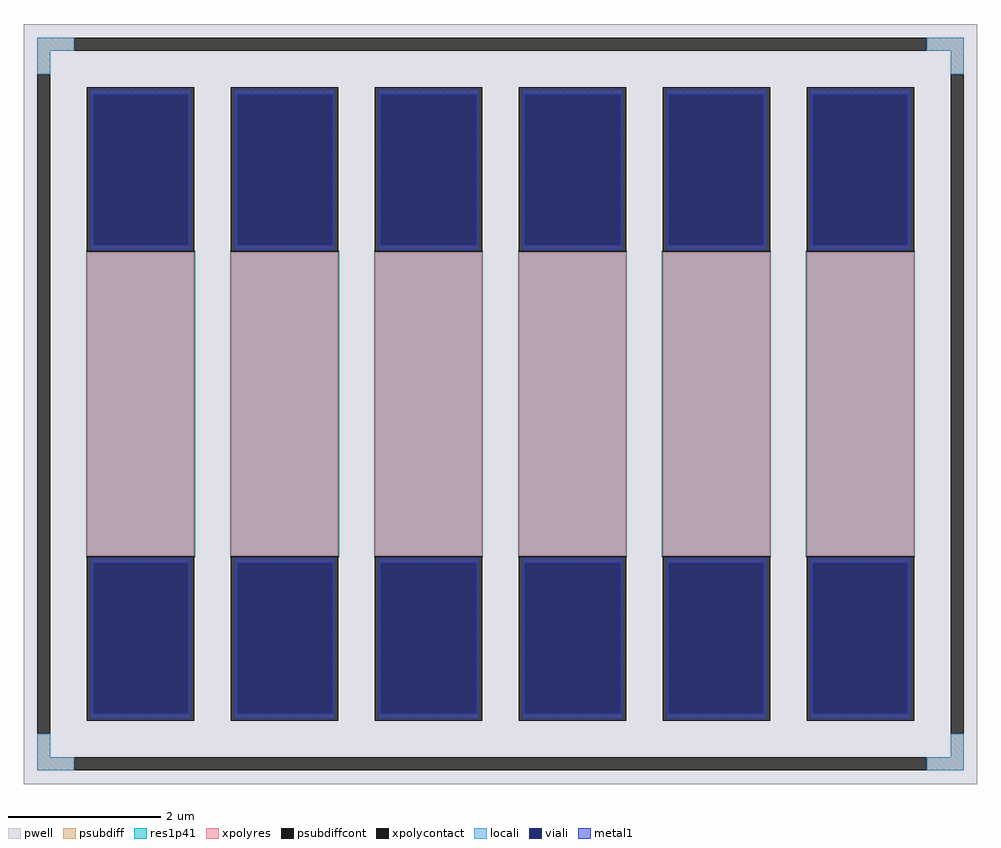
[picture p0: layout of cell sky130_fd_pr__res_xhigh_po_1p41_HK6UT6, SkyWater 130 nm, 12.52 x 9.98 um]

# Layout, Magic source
magic
tech sky130A
magscale 1 2
<< pwell >>
rect -1252 -998 1252 998
<< psubdiff >>
rect -1216 928 -1120 962
rect 1120 928 1216 962
rect -1216 866 -1182 928
rect 1182 866 1216 928
rect -1216 -928 -1182 -866
rect 1182 -928 1216 -866
rect -1216 -962 -1120 -928
rect 1120 -962 1216 -928
<< psubdiffcont >>
rect -1120 928 1120 962
rect -1216 -866 -1182 866
rect 1182 -866 1216 866
rect -1120 -962 1120 -928
<< xpolycontact >>
rect -1086 400 -804 832
rect -1086 -832 -804 -400
rect -708 400 -426 832
rect -708 -832 -426 -400
rect -330 400 -48 832
rect -330 -832 -48 -400
rect 48 400 330 832
rect 48 -832 330 -400
rect 426 400 708 832
rect 426 -832 708 -400
rect 804 400 1086 832
rect 804 -832 1086 -400
<< xpolyres >>
rect -1086 -400 -804 400
rect -708 -400 -426 400
rect -330 -400 -48 400
rect 48 -400 330 400
rect 426 -400 708 400
rect 804 -400 1086 400
<< locali >>
rect -1216 928 -1120 962
rect 1120 928 1216 962
rect -1216 866 -1182 928
rect 1182 866 1216 928
rect -1216 -928 -1182 -866
rect 1182 -928 1216 -866
rect -1216 -962 -1120 -928
rect 1120 -962 1216 -928
<< viali >>
rect -1070 417 -820 814
rect -692 417 -442 814
rect -314 417 -64 814
rect 64 417 314 814
rect 442 417 692 814
rect 820 417 1070 814
rect -1070 -814 -820 -417
rect -692 -814 -442 -417
rect -314 -814 -64 -417
rect 64 -814 314 -417
rect 442 -814 692 -417
rect 820 -814 1070 -417
<< metal1 >>
rect -1076 814 -814 826
rect -1076 417 -1070 814
rect -820 417 -814 814
rect -1076 405 -814 417
rect -698 814 -436 826
rect -698 417 -692 814
rect -442 417 -436 814
rect -698 405 -436 417
rect -320 814 -58 826
rect -320 417 -314 814
rect -64 417 -58 814
rect -320 405 -58 417
rect 58 814 320 826
rect 58 417 64 814
rect 314 417 320 814
rect 58 405 320 417
rect 436 814 698 826
rect 436 417 442 814
rect 692 417 698 814
rect 436 405 698 417
rect 814 814 1076 826
rect 814 417 820 814
rect 1070 417 1076 814
rect 814 405 1076 417
rect -1076 -417 -814 -405
rect -1076 -814 -1070 -417
rect -820 -814 -814 -417
rect -1076 -826 -814 -814
rect -698 -417 -436 -405
rect -698 -814 -692 -417
rect -442 -814 -436 -417
rect -698 -826 -436 -814
rect -320 -417 -58 -405
rect -320 -814 -314 -417
rect -64 -814 -58 -417
rect -320 -826 -58 -814
rect 58 -417 320 -405
rect 58 -814 64 -417
rect 314 -814 320 -417
rect 58 -826 320 -814
rect 436 -417 698 -405
rect 436 -814 442 -417
rect 692 -814 698 -417
rect 436 -826 698 -814
rect 814 -417 1076 -405
rect 814 -814 820 -417
rect 1070 -814 1076 -417
rect 814 -826 1076 -814
<< res1p41 >>
rect -1088 -402 -802 402
rect -710 -402 -424 402
rect -332 -402 -46 402
rect 46 -402 332 402
rect 424 -402 710 402
rect 802 -402 1088 402
<< properties >>
string FIXED_BBOX -1199 -945 1199 945
string gencell sky130_fd_pr__res_xhigh_po_1p41
string library sky130
string parameters w 1.41 l 4.0 m 1 nx 6 wmin 1.410 lmin 0.50 rho 2000 val 5.94k dummy 0 dw 0.0 term 188.2 sterm 0.0 caplen 0 wmax 1.410 guard 1 glc 1 grc 1 gtc 1 gbc 1 compatible {sky130_fd_pr__res_xhigh_po_0p35  sky130_fd_pr__res_xhigh_po_0p69 sky130_fd_pr__res_xhigh_po_1p41  sky130_fd_pr__res_xhigh_po_2p85 sky130_fd_pr__res_xhigh_po_5p73} snake 0 full_metal 1 n_guard 0 hv_guard 0 vias 1 viagb 0 viagt 0 viagl 0 viagr 0
<< end >>
